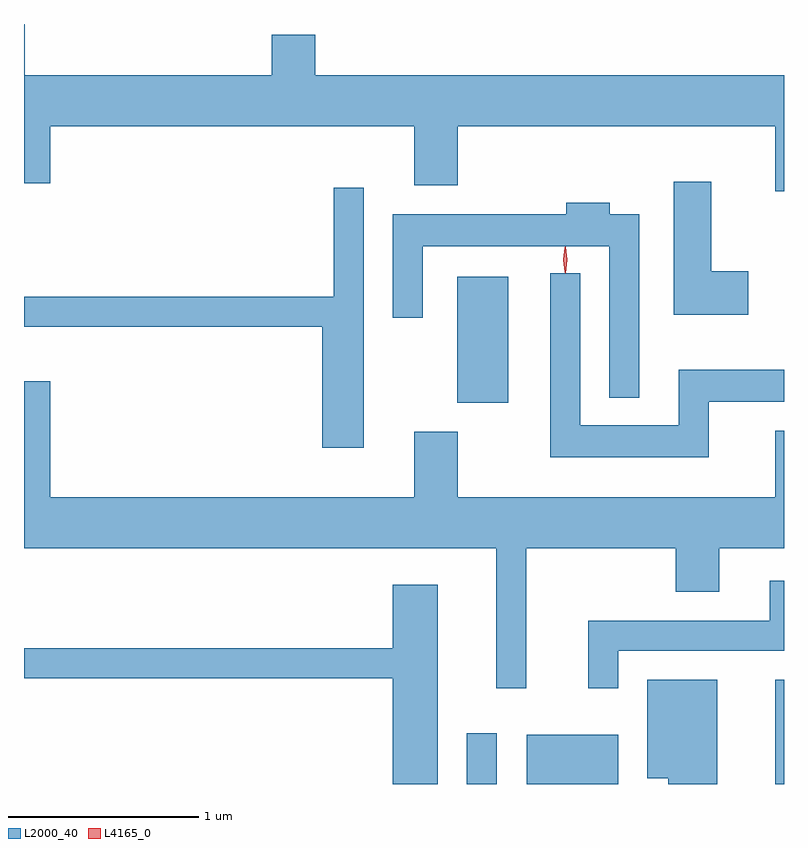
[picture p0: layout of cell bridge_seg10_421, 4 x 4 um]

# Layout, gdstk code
import gdstk
lib = gdstk.Library(unit=1e-6, precision=1e-09)
def R(c, l, rs):  # rectangles x0, y0, x1, y1
    for r in rs: c.add(gdstk.rectangle(r[:2], r[2:], *l))
def P(c, l, *ps):  # polygons
    for p in ps: c.add(gdstk.Polygon(p, *l))
L2000_40 = (2000, 40)
L4165_0 = (4165, 0)

bridge_seg10_421 = lib.new_cell('bridge_seg10_421')
R(bridge_seg10_421, L2000_40, [(1396.356,2139.315,1396.514,2139.583), (1396.671,2139.315,1397.154,2139.574), (1397.981,2139.315,1398.026,2139.864), (1396.306,2141.321,1396.574,2141.984)])
P(bridge_seg10_421, L2000_40, [(1398.026,2143.044),(1395.559,2143.044),(1395.559,2143.259),(1395.331,2143.259),(1395.331,2143.044),(1394.029,2143.044),(1394.029,2143.315),(1394.026,2143.315),(1394.026,2142.476),(1394.164,2142.476),(1394.164,2142.776),(1396.081,2142.776),(1396.081,2142.466),(1396.309,2142.466),(1396.309,2142.776),(1397.981,2142.776),(1397.981,2142.436),(1398.026,2142.436)],
  [(1397.839,2142.014),(1397.644,2142.014),(1397.644,2142.484),(1397.446,2142.484),(1397.446,2141.786),(1397.839,2141.786)],
  [(1395.814,2142.453),(1395.656,2142.453),(1395.656,2141.879),(1394.026,2141.879),(1394.026,2141.721),(1395.596,2141.721),(1395.596,2141.086),(1395.814,2141.086)],
  [(1397.264,2142.314),(1397.109,2142.314),(1397.109,2142.374),(1396.881,2142.374),(1396.881,2142.314),(1395.966,2142.314),(1395.966,2141.768),(1396.124,2141.768),(1396.124,2142.146),(1397.106,2142.146),(1397.106,2141.348),(1397.264,2141.348)],
  [(1397.629,2141.326),(1398.026,2141.326),(1398.026,2141.494),(1397.471,2141.494),(1397.471,2141.204),(1396.954,2141.204),(1396.954,2142.003),(1396.796,2142.003),(1396.796,2141.036),(1397.629,2141.036)],
  [(1396.669,2140.556),(1397.456,2140.556),(1397.456,2140.326),(1397.684,2140.326),(1397.684,2140.556),(1398.026,2140.556),(1398.026,2141.174),(1397.981,2141.174),(1397.981,2140.824),(1396.309,2140.824),(1396.309,2141.169),(1396.081,2141.169),(1396.081,2140.824),(1394.164,2140.824),(1394.164,2141.434),(1394.026,2141.434),(1394.026,2140.556),(1396.511,2140.556),(1396.511,2139.818),(1396.669,2139.818)],
  [(1397.154,2140.016),(1398.026,2140.016),(1398.026,2140.384),(1397.951,2140.384),(1397.951,2140.174),(1396.996,2140.174),(1396.996,2139.818),(1397.154,2139.818)],
  [(1396.204,2140.364),(1395.966,2140.364),(1395.966,2140.029),(1394.026,2140.029),(1394.026,2139.871),(1395.966,2139.871),(1395.966,2139.315),(1396.204,2139.315)],
  [(1397.674,2139.864),(1397.306,2139.864),(1397.306,2139.346),(1397.416,2139.346),(1397.416,2139.315),(1397.674,2139.315)])
P(bridge_seg10_421, L4165_0, [(1396.874,2142.007),(1396.873,2142.008),(1396.864,2142.074),(1396.873,2142.14),(1396.874,2142.14),(1396.874,2142.14),(1396.884,2142.074),(1396.874,2142.008)],
  [(1396.874,2142.004),(1396.865,2142.073),(1396.874,2142.142),(1396.875,2142.143),(1396.876,2142.142),(1396.885,2142.073),(1396.876,2142.004),(1396.875,2142.004)])

lib.write_gds('bridge_seg10_421.gds')
